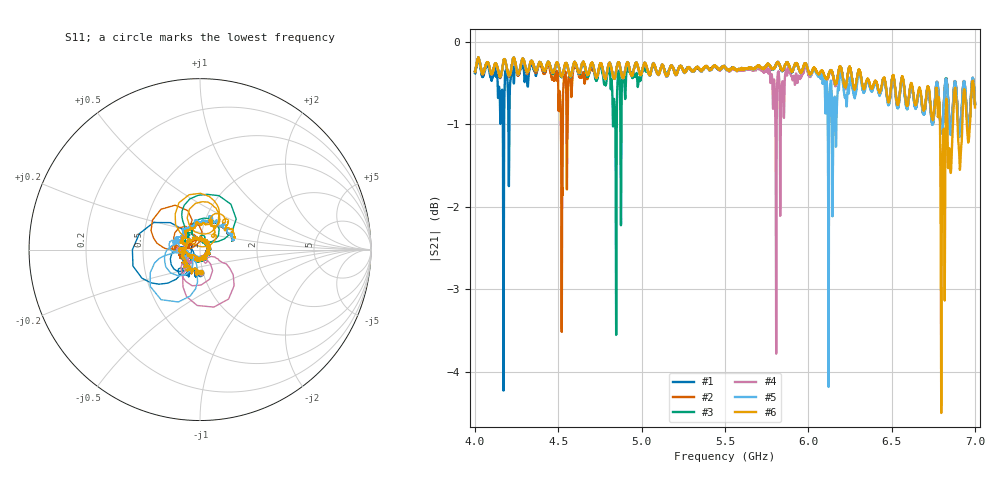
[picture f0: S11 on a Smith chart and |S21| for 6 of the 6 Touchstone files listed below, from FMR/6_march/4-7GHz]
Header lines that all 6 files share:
#  HZ  S  RI  R  50.0
! Rohde & Schwarz ZVL13 2Ports - Version 3.31 - 1303.6509k13 SN: 101088
! Data & Calibration Information:
! Trc4:S11(TOSM) Trc2:S21(TOSM) Trc3:S12(TOSM) Trc5:S22(TOSM)
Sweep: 4 GHz to 7 GHz
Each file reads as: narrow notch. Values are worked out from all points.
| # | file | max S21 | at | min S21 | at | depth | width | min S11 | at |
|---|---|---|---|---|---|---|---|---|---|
| 1 | YIG_4-7GHz_84mT.s2p | -0.21 dB | 4.02 GHz | -4.2 dB | 4.171 GHz | 3.9 dB | 3.66 MHz | -28.9 dB | 5.428 GHz |
| 2 | YIG_4-7GHz_95mT.s2p | -0.19 dB | 4.02 GHz | -3.5 dB | 4.521 GHz | 3.2 dB | 4.18 MHz | -28.8 dB | 4.529 GHz |
| 3 | YIG_4-7GHz_105mT.s2p | -0.19 dB | 4.02 GHz | -3.6 dB | 4.847 GHz | 3.2 dB | 4.5 MHz | -28.7 dB | 5.428 GHz |
| 4 | YIG_4-7GHz_136mT.s2p | -0.19 dB | 4.02 GHz | -3.8 dB | 5.807 GHz | 3.4 dB | 3.62 MHz | -28.5 dB | 5.493 GHz |
| 5 | YIG_4-7GHz_146mT.s2p | -0.19 dB | 4.02 GHz | -4.2 dB | 6.122 GHz | 3.8 dB | 3.6 MHz | -28.5 dB | 5.493 GHz |
| 6 | YIG_4-7GHz_168mT.s2p | -0.19 dB | 4.02 GHz | -4.5 dB | 6.797 GHz | 4.2 dB | 5.9 MHz | -34.1 dB | 6.791 GHz |
